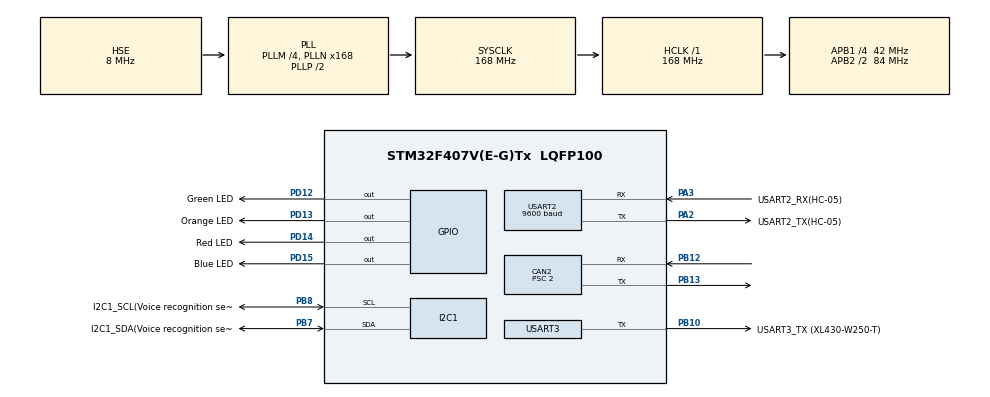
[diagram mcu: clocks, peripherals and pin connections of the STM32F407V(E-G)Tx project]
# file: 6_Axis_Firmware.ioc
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CAN2.BS1=CAN_BS1_15TQ
CAN2.BS2=CAN_BS2_5TQ
CAN2.CalculateBaudRate=1000000
CAN2.CalculateTimeBit=1000
CAN2.CalculateTimeQuantum=47.61904761904762
CAN2.Prescaler=2
FREERTOS.BinarySemaphores01=bSem_BLE,Dynamic,NULL;bSem_Voice,Dynamic,NULL
FREERTOS.Events01=cmdFlag,Dynamic,NULL;i2cFlag,Dynamic,NULL
FREERTOS.Queues01=ble_IT,5,bleData,0,Dynamic,NULL,NULL;voice_IT,5,uint8_t,0,Dynamic,NULL,NULL;pos_data,5,posData,0,Dynamic,NULL,NULL;voice_data,5,uint8_t,0,Dynamic,NULL,NULL;pos_single,5,posSingleData,0,Dynamic,NULL,NULL
FREERTOS.Tasks01=defaultTask,8,128,StartDefaultTask,Default,NULL,Dynamic,NULL,NULL;Task_VIT,25,128,VoiceInterrupt,Default,NULL,Dynamic,NULL,NULL;Task_Motor,26,256,Motor,Default,NULL,Dynamic,NULL,NULL;Task_Data,27,128,DataParse,Default,NULL,Dynamic,NULL,NULL;Task_GetCMD,24,128,GetVoiceCmd,Default,NULL,Dynamic,NULL,NULL;Task_BLE,28,128,BLEInterrupt,Default,NULL,Dynamic,NULL,NULL
FREERTOS.configUSE_NEWLIB_REENTRANT=1
FREERTOS.copyHeapFile=1
Mcu.Family=STM32F4
Mcu.Name=STM32F407V(E-G)Tx
Mcu.Package=LQFP100
NVIC.I2C1_EV_IRQn=true\:6\:0\:true\:false\:true\:true\:true\:true\:true
NVIC.PriorityGroup=NVIC_PRIORITYGROUP_4
NVIC.TIM6_DAC_IRQn=true\:15\:0\:false\:false\:true\:false\:false\:true\:true
NVIC.TimeBase=TIM6_DAC_IRQn
NVIC.TimeBaseIP=TIM6
NVIC.USART2_IRQn=true\:6\:0\:true\:false\:true\:true\:true\:true\:true
PA2.GPIO_Label=USART2_TX(HC-05)
PA2.Mode=Asynchronous
PA2.Signal=USART2_TX
PA3.GPIO_Label=USART2_RX(HC-05)
PA3.Mode=Asynchronous
PA3.Signal=USART2_RX
PB10.GPIO_Label=USART3_TX (XL430-W250-T)
PB10.Mode=Half_duplex(single_wire_mode)
PB10.Signal=USART3_TX
PB12.Mode=CAN_Activate
PB12.Signal=CAN2_RX
PB13.Mode=CAN_Activate
PB13.Signal=CAN2_TX
PB7.GPIO_Label=I2C1_SDA(Voice recognition sensor)
PB7.Mode=I2C
PB7.Signal=I2C1_SDA
PB8.GPIO_Label=I2C1_SCL(Voice recognition sensor)
PB8.Mode=I2C
PB8.Signal=I2C1_SCL
PD12.GPIO_Label=Green LED
PD12.Signal=GPIO_Output
PD13.GPIO_Label=Orange LED
PD13.Signal=GPIO_Output
PD14.GPIO_Label=Red LED
PD14.Signal=GPIO_Output
PD15.GPIO_Label=Blue LED
PD15.Signal=GPIO_Output
PH0-OSC_IN.Mode=HSE-External-Oscillator
PH0-OSC_IN.Signal=RCC_OSC_IN
PH1-OSC_OUT.Mode=HSE-External-Oscillator
PH1-OSC_OUT.Signal=RCC_OSC_OUT
ProjectManager.HeapSize=0x200
ProjectManager.StackSize=0x400
ProjectManager.TargetToolchain=STM32CubeIDE
RCC.48MHZClocksFreq_Value=84000000
RCC.AHBFreq_Value=168000000
RCC.APB1CLKDivider=RCC_HCLK_DIV4
RCC.APB1Freq_Value=42000000
RCC.APB1TimFreq_Value=84000000
RCC.APB2CLKDivider=RCC_HCLK_DIV2
RCC.APB2Freq_Value=84000000
RCC.APB2TimFreq_Value=168000000
RCC.CortexFreq_Value=168000000
RCC.HCLKFreq_Value=168000000
RCC.HSE_VALUE=8000000
RCC.HSI_VALUE=16000000
RCC.LSE_VALUE=32768
RCC.PLLM=4
RCC.PLLN=168
RCC.PLLSourceVirtual=RCC_PLLSOURCE_HSE
RCC.SYSCLKFreq_VALUE=168000000
RCC.SYSCLKSource=RCC_SYSCLKSOURCE_PLLCLK
RCC.VCOOutputFreq_Value=336000000
USART2.BaudRate=9600
USART2.VirtualMode=VM_ASYNC
USART3.BaudRate=115200
USART3.Mode=MODE_TX
USART3.VirtualMode=VM_ASYNC
VP_FREERTOS_VS_CMSIS_V2.Mode=CMSIS_V2
VP_SYS_VS_tim6.Mode=TIM6
board=custom

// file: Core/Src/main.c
/* USER CODE BEGIN Header */
/**
 ******************************************************************************
 * @file           : main.c
 * @brief          : Main program body
 ******************************************************************************
 * @attention
 *
 * Copyright (c) 2024 STMicroelectronics.
 * All rights reserved.
 *
 * This software is licensed under terms that can be found in the LICENSE file
 * in the root directory of this software component.
 * If no LICENSE file comes with this software, it is provided AS-IS.
 *
 ******************************************************************************
 */
/* USER CODE END Header */
#include "main.h"
#include "cmsis_os.h"

/* USER CODE BEGIN Includes */
#include <stdio.h>
#include <stdlib.h>
#include <string.h>

#include "at24cxx.h"
#include "df2301q.h"
#include "mg4005.h"
#include "xl430.h"
/* USER CODE END Includes */

/* USER CODE BEGIN PD */
#define ROBOT_INIT_FLAG 0x01
#define ROBOT_INITCOMP_FLAG 0x02
#define ROBOT_STOP_FLAG 0x04
#define ROBOT_STOPCOMP_FLAG 0x08

#define EEPROM_BUSY 0x01

#define MG4005_ID1_INIT 0
#define MG4005_ID2_INIT 0
#define MG4005_ID3_INIT 0
#define MG4005_ID1_OFFSET 180
#define MG4005_SPEED 300

#define XL430_ID4_INIT 17
#define XL430_ID5_INIT 180
#define XL430_ID6_INIT 180
#define XL430_SPEED 218
/* USER CODE END PD */

CAN_HandleTypeDef hcan2;

I2C_HandleTypeDef hi2c1;

UART_HandleTypeDef huart2;
UART_HandleTypeDef huart3;

/* Definitions for defaultTask */
osThreadId_t defaultTaskHandle;
const osThreadAttr_t defaultTask_attributes = {
  .name = "defaultTask",
  .stack_size = 128 * 4,
  .priority = (osPriority_t) osPriorityLow,
};
/* Definitions for Task_VIT */
osThreadId_t Task_VITHandle;
const osThreadAttr_t Task_VIT_attributes = {
  .name = "Task_VIT",
  .stack_size = 128 * 4,
  .priority = (osPriority_t) osPriorityNormal1,
};
/* Definitions for Task_Motor */
osThreadId_t Task_MotorHandle;
const osThreadAttr_t Task_Motor_attributes = {
  .name = "Task_Motor",
  .stack_size = 256 * 4,
  .priority = (osPriority_t) osPriorityNormal2,
};
/* Definitions for Task_Data */
osThreadId_t Task_DataHandle;
const osThreadAttr_t Task_Data_attributes = {
  .name = "Task_Data",
  .stack_size = 128 * 4,
  .priority = (osPriority_t) osPriorityNormal3,
};
/* Definitions for Task_GetCMD */
osThreadId_t Task_GetCMDHandle;
const osThreadAttr_t Task_GetCMD_attributes = {
  .name = "Task_GetCMD",
  .stack_size = 128 * 4,
  .priority = (osPriority_t) osPriorityNormal,
};
/* Definitions for Task_BLE */
osThreadId_t Task_BLEHandle;
const osThreadAttr_t Task_BLE_attributes = {
  .name = "Task_BLE",
  .stack_size = 128 * 4,
  .priority = (osPriority_t) osPriorityNormal4,
};
/* Definitions for ble_IT */
osMessageQueueId_t ble_ITHandle;
const osMessageQueueAttr_t ble_IT_attributes = {
  .name = "ble_IT"
};
/* Definitions for voice_IT */
osMessageQueueId_t voice_ITHandle;
const osMessageQueueAttr_t voice_IT_attributes = {
  .name = "voice_IT"
};
/* Definitions for pos_data */
osMessageQueueId_t pos_dataHandle;
const osMessageQueueAttr_t pos_data_attributes = {
  .name = "pos_data"
};
/* Definitions for voice_data */
osMessageQueueId_t voice_dataHandle;
const osMessageQueueAttr_t voice_data_attributes = {
  .name = "voice_data"
};
/* Definitions for pos_single */
osMessageQueueId_t pos_singleHandle;
const osMessageQueueAttr_t pos_single_attributes = {
  .name = "pos_single"
};
/* Definitions for bSem_BLE */
osSemaphoreId_t bSem_BLEHandle;
const osSemaphoreAttr_t bSem_BLE_attributes = {
  .name = "bSem_BLE"
};
/* Definitions for bSem_Voice */
osSemaphoreId_t bSem_VoiceHandle;
const osSemaphoreAttr_t bSem_Voice_attributes = {
  .name = "bSem_Voice"
};
/* Definitions for cmdFlag */
osEventFlagsId_t cmdFlagHandle;
const osEventFlagsAttr_t cmdFlag_attributes = {
  .name = "cmdFlag"
};
/* Definitions for i2cFlag */
osEventFlagsId_t i2cFlagHandle;
const osEventFlagsAttr_t i2cFlag_attributes = {
  .name = "i2cFlag"
};
/* USER CODE BEGIN PV */
// BLE module code
typedef struct {
	uint8_t cmd[4];
	uint8_t idx;
	uint8_t pos1[4];
	uint8_t pos2[4];
	uint8_t pos3[4];
	uint8_t pos4[4];
	uint8_t pos5[4];
	uint8_t pos6[4];
} bleData;

typedef struct {
	uint8_t idx;
	int32_t pos1;
	int32_t pos2;
	int32_t pos3;
	int32_t pos4;
	int32_t pos5;
	int32_t pos6;
} posData;

typedef struct {
	uint8_t id;
	int16_t pos;
} posSingleData;

bleData *pBle_it;
posData *pPos_data;
uint8_t uart2_rx = 0;

// Voice sensor code
uint8_t *pVoice_it;
uint8_t *pVoice_data;
uint8_t i2c1_rx = 0;

// MG4005 code
CAN_FilterTypeDef canFilter;
CAN_RxHeaderTypeDef canRxHeader;
CAN_TxHeaderTypeDef canTxHeader;
uint8_t canRx0Data[8];
uint32_t canTxMailbox;
uint8_t canTxData[8];

// XL430 code
uint8_t tx_packet[64];

/* USER CODE END PV */

void SystemClock_Config(void);
static void MX_GPIO_Init(void);
static void MX_CAN2_Init(void);
static void MX_USART2_UART_Init(void);
static void MX_I2C1_Init(void);
static void MX_USART3_UART_Init(void);
void StartDefaultTask(void *argument);
void VoiceInterrupt(void *argument);
void Motor(void *argument);
void DataParse(void *argument);
void GetVoiceCmd(void *argument);
void BLEInterrupt(void *argument);

/* USER CODE BEGIN PFP */
void PosSetDataParsing(bleData *p, posData *data);
void posSingleDataParsing(bleData *p, posSingleData *data, uint8_t id);
void PosSaveDataParsing(bleData *p, uint8_t *save_arr);
void PosSaveDataDecode(uint8_t *save_arr, posData *data);
/* USER CODE END PFP */

/* USER CODE BEGIN 0 */
//int _write(int file, char *p, int len) {
//	for (int i = 0; i < len; i++) {
//		ITM_SendChar((*p++));
//	}
//	return len;
//}
/* USER CODE END 0 */

int main(void)
{

  /* MCU Configuration--------------------------------------------------------*/

  /* Reset of all peripherals, Initializes the Flash interface and the Systick. */
  HAL_Init();

  /* Configure the system clock */
  SystemClock_Config();

  /* Initialize all configured peripherals */
  MX_GPIO_Init();
  MX_CAN2_Init();
  MX_USART2_UART_Init();
  MX_I2C1_Init();
  MX_USART3_UART_Init();
  /* USER CODE BEGIN 2 */
	// Boot delay
	HAL_Delay(2000);

	HAL_UART_Receive_IT(&huart2, &uart2_rx, 1);
	InitCANFilter();
  /* USER CODE END 2 */

  /* Init scheduler */
  osKernelInitialize();

  /* Create the semaphores(s) */
  /* creation of bSem_BLE */
  bSem_BLEHandle = osSemaphoreNew(1, 1, &bSem_BLE_attributes);

  /* creation of bSem_Voice */
  bSem_VoiceHandle = osSemaphoreNew(1, 1, &bSem_Voice_attributes);

  /* Create the queue(s) */
  /* creation of ble_IT */
  ble_ITHandle = osMessageQueueNew (5, sizeof(bleData), &ble_IT_attributes);

  /* creation of voice_IT */
  voice_ITHandle = osMessageQueueNew (5, sizeof(uint8_t), &voice_IT_attributes);

  /* creation of pos_data */
  pos_dataHandle = osMessageQueueNew (5, sizeof(posData), &pos_data_attributes);

  /* creation of voice_data */
  voice_dataHandle = osMessageQueueNew (5, sizeof(uint8_t), &voice_data_attributes);

  /* creation of pos_single */
  pos_singleHandle = osMessageQueueNew (5, sizeof(posSingleData), &pos_single_attributes);

  /* Create the thread(s) */
  /* creation of defaultTask */
  defaultTaskHandle = osThreadNew(StartDefaultTask, NULL, &defaultTask_attributes);

  /* creation of Task_VIT */
  Task_VITHandle = osThreadNew(VoiceInterrupt, NULL, &Task_VIT_attributes);

  /* creation of Task_Motor */
  Task_MotorHandle = osThreadNew(Motor, NULL, &Task_Motor_attributes);

  /* creation of Task_Data */
  Task_DataHandle = osThreadNew(DataParse, NULL, &Task_Data_attributes);

  /* creation of Task_GetCMD */
  Task_GetCMDHandle = osThreadNew(GetVoiceCmd, NULL, &Task_GetCMD_attributes);

  /* creation of Task_BLE */
  Task_BLEHandle = osThreadNew(BLEInterrupt, NULL, &Task_BLE_attributes);

  /* Create the event(s) */
  /* creation of cmdFlag */
  cmdFlagHandle = osEventFlagsNew(&cmdFlag_attributes);

  /* creation of i2cFlag */
  i2cFlagHandle = osEventFlagsNew(&i2cFlag_attributes);

  /* USER CODE BEGIN RTOS_EVENTS */
	/* add events, ... */
	osEventFlagsSet(cmdFlagHandle, ROBOT_INIT_FLAG);
  /* USER CODE END RTOS_EVENTS */

  /* Start scheduler */
  osKernelStart();

  /* We should never get here as control is now taken by the scheduler */
  /* Infinite loop */
	while (1) {

	}
}

void SystemClock_Config(void)
{
  RCC_OscInitTypeDef RCC_OscInitStruct = {0};
  RCC_ClkInitTypeDef RCC_ClkInitStruct = {0};

  /** Configure the main internal regulator output voltage
  */
  __HAL_RCC_PWR_CLK_ENABLE();
  __HAL_PWR_VOLTAGESCALING_CONFIG(PWR_REGULATOR_VOLTAGE_SCALE1);

  /** Initializes the RCC Oscillators according to the specified parameters
  * in the RCC_OscInitTypeDef structure.
  */
  RCC_OscInitStruct.OscillatorType = RCC_OSCILLATORTYPE_HSE;
  RCC_OscInitStruct.HSEState = RCC_HSE_ON;
  RCC_OscInitStruct.PLL.PLLState = RCC_PLL_ON;
  RCC_OscInitStruct.PLL.PLLSource = RCC_PLLSOURCE_HSE;
  RCC_OscInitStruct.PLL.PLLM = 4;
  RCC_OscInitStruct.PLL.PLLN = 168;
  RCC_OscInitStruct.PLL.PLLP = RCC_PLLP_DIV2;
  RCC_OscInitStruct.PLL.PLLQ = 4;
  if (HAL_RCC_OscConfig(&RCC_OscInitStruct) != HAL_OK)
  {
    Error_Handler();
  }

  /** Initializes the CPU, AHB and APB buses clocks
  */
  RCC_ClkInitStruct.ClockType = RCC_CLOCKTYPE_HCLK|RCC_CLOCKTYPE_SYSCLK
                              |RCC_CLOCKTYPE_PCLK1|RCC_CLOCKTYPE_PCLK2;
  RCC_ClkInitStruct.SYSCLKSource = RCC_SYSCLKSOURCE_PLLCLK;
  RCC_ClkInitStruct.AHBCLKDivider = RCC_SYSCLK_DIV1;
  RCC_ClkInitStruct.APB1CLKDivider = RCC_HCLK_DIV4;
  RCC_ClkInitStruct.APB2CLKDivider = RCC_HCLK_DIV2;

  if (HAL_RCC_ClockConfig(&RCC_ClkInitStruct, FLASH_LATENCY_5) != HAL_OK)
  {
    Error_Handler();
  }
}

static void MX_CAN2_Init(void)
{

  hcan2.Instance = CAN2;
  hcan2.Init.Prescaler = 2;
  hcan2.Init.Mode = CAN_MODE_NORMAL;
  hcan2.Init.SyncJumpWidth = CAN_SJW_1TQ;
  hcan2.Init.TimeSeg1 = CAN_BS1_15TQ;
  hcan2.Init.TimeSeg2 = CAN_BS2_5TQ;
  hcan2.Init.TimeTriggeredMode = DISABLE;
  hcan2.Init.AutoBusOff = DISABLE;
  hcan2.Init.AutoWakeUp = DISABLE;
  hcan2.Init.AutoRetransmission = DISABLE;
  hcan2.Init.ReceiveFifoLocked = DISABLE;
  hcan2.Init.TransmitFifoPriority = DISABLE;
  if (HAL_CAN_Init(&hcan2) != HAL_OK)
  {
    Error_Handler();
  }

}

static void MX_I2C1_Init(void)
{

  hi2c1.Instance = I2C1;
  hi2c1.Init.ClockSpeed = 100000;
  hi2c1.Init.DutyCycle = I2C_DUTYCYCLE_2;
  hi2c1.Init.OwnAddress1 = 0;
  hi2c1.Init.AddressingMode = I2C_ADDRESSINGMODE_7BIT;
  hi2c1.Init.DualAddressMode = I2C_DUALADDRESS_DISABLE;
  hi2c1.Init.OwnAddress2 = 0;
  hi2c1.Init.GeneralCallMode = I2C_GENERALCALL_DISABLE;
  hi2c1.Init.NoStretchMode = I2C_NOSTRETCH_DISABLE;
  if (HAL_I2C_Init(&hi2c1) != HAL_OK)
  {
    Error_Handler();
  }

}

static void MX_USART2_UART_Init(void)
{

  huart2.Instance = USART2;
  huart2.Init.BaudRate = 9600;
  huart2.Init.WordLength = UART_WORDLENGTH_8B;
  huart2.Init.StopBits = UART_STOPBITS_1;
  huart2.Init.Parity = UART_PARITY_NONE;
  huart2.Init.Mode = UART_MODE_TX_RX;
  huart2.Init.HwFlowCtl = UART_HWCONTROL_NONE;
  huart2.Init.OverSampling = UART_OVERSAMPLING_16;
  if (HAL_UART_Init(&huart2) != HAL_OK)
  {
    Error_Handler();
  }

}

static void MX_USART3_UART_Init(void)
{

  huart3.Instance = USART3;
  huart3.Init.BaudRate = 115200;
  huart3.Init.WordLength = UART_WORDLENGTH_8B;
  huart3.Init.StopBits = UART_STOPBITS_1;
  huart3.Init.Parity = UART_PARITY_NONE;
  huart3.Init.Mode = UART_MODE_TX;
  huart3.Init.HwFlowCtl = UART_HWCONTROL_NONE;
  huart3.Init.OverSampling = UART_OVERSAMPLING_16;
  if (HAL_HalfDuplex_Init(&huart3) != HAL_OK)
  {
    Error_Handler();
  }

}

static void MX_GPIO_Init(void)
{
  GPIO_InitTypeDef GPIO_InitStruct = {0};

  /* GPIO Ports Clock Enable */
  __HAL_RCC_GPIOH_CLK_ENABLE();
  __HAL_RCC_GPIOA_CLK_ENABLE();
  __HAL_RCC_GPIOB_CLK_ENABLE();
  __HAL_RCC_GPIOD_CLK_ENABLE();

  /*Configure GPIO pin Output Level */
  HAL_GPIO_WritePin(GPIOD, Green_LED_Pin|Orange_LED_Pin|Red_LED_Pin|Blue_LED_Pin, GPIO_PIN_RESET);

  /*Configure GPIO pins : Green_LED_Pin Orange_LED_Pin Red_LED_Pin Blue_LED_Pin */
  GPIO_InitStruct.Pin = Green_LED_Pin|Orange_LED_Pin|Red_LED_Pin|Blue_LED_Pin;
  GPIO_InitStruct.Mode = GPIO_MODE_OUTPUT_PP;
  GPIO_InitStruct.Pull = GPIO_NOPULL;
  GPIO_InitStruct.Speed = GPIO_SPEED_FREQ_LOW;
  HAL_GPIO_Init(GPIOD, &GPIO_InitStruct);

}

/* USER CODE BEGIN 4 */
// Bluetooth data Receive
void HAL_UART_RxCpltCallback(UART_HandleTypeDef *huart) {
	if (huart->Instance == USART2) {
		osSemaphoreRelease(bSem_BLEHandle);
	}
}

void HAL_I2C_MemRxCpltCallback(I2C_HandleTypeDef *hi2c) {
	if (hi2c->Instance == I2C1) {
		osSemaphoreRelease(bSem_VoiceHandle);
	}
}

void PosSetDataParsing(bleData *p, posData *data) {
	data->pos1 = (int32_t) (strtoul(p->pos1, NULL, 10) - MG4005_ID1_OFFSET);
	data->pos2 = (int32_t) strtoul(p->pos2, NULL, 10);
	data->pos3 = (int32_t) strtoul(p->pos3, NULL, 10);
	data->pos4 = (int32_t) strtoul(p->pos4, NULL, 10);
	data->pos5 = (int32_t) strtoul(p->pos5, NULL, 10);
	data->pos6 = (int32_t) strtoul(p->pos6, NULL, 10);
}

void posSingleDataParsing(bleData *p, posSingleData *data, uint8_t id) {
	data->id = id;
	data->pos = (int16_t) strtoul(p->pos1, NULL, 10);
}

void PosSaveDataParsing(bleData *p, uint8_t *save_arr) {

	int16_t pos1 = (int16_t) strtoul(p->pos1, NULL, 10);
	int16_t pos2 = (int16_t) strtoul(p->pos2, NULL, 10);
	int16_t pos3 = (int16_t) strtoul(p->pos3, NULL, 10);
	int16_t pos4 = (int16_t) strtoul(p->pos4, NULL, 10);
	int16_t pos5 = (int16_t) strtoul(p->pos5, NULL, 10);
	int16_t pos6 = (int16_t) strtoul(p->pos6, NULL, 10);

	save_arr[0] = *((uint8_t*) (&pos1));
	save_arr[1] = *((uint8_t*) (&pos1) + 1);
	save_arr[2] = *((uint8_t*) (&pos2));
	save_arr[3] = *((uint8_t*) (&pos2) + 1);
	save_arr[4] = *((uint8_t*) (&pos3));
	save_arr[5] = *((uint8_t*) (&pos3) + 1);
	save_arr[6] = *((uint8_t*) (&pos4));
	save_arr[7] = *((uint8_t*) (&pos4) + 1);
	save_arr[8] = *((uint8_t*) (&pos5));
	save_arr[9] = *((uint8_t*) (&pos5) + 1);
	save_arr[10] = *((uint8_t*) (&pos6));
	save_arr[11] = *((uint8_t*) (&pos6) + 1);

	printf("idx: %d\r\n", p->idx - 48);
	printf("pos2: %d\r\n", pos2);
	printf("SaveArr2: 0x%x, 0x%x\r\n", save_arr[2], save_arr[3]);
}

void PosSaveDataDecode(uint8_t *save_arr, posData *data) {
	data->pos1 = ((int32_t) (((uint16_t) save_arr[1] << 8)
			| (uint16_t) save_arr[0])) - MG4005_ID1_OFFSET;
	data->pos2 = (int32_t) (((uint16_t) save_arr[3] << 8)
			| (uint16_t) save_arr[2]);
	data->pos3 = (int32_t) (((uint16_t) save_arr[5] << 8)
			| (uint16_t) save_arr[4]);
	data->pos4 = (int32_t) (((uint16_t) save_arr[7] << 8)
			| (uint16_t) save_arr[6]);
	data->pos5 = (int32_t) (((uint16_t) save_arr[9] << 8)
			| (uint16_t) save_arr[8]);
	data->pos6 = (int32_t) (((uint16_t) save_arr[11] << 8)
			| (uint16_t) save_arr[10]);

	printf("Decode SaveArr2: 0x%x, 0x%x\r\n", save_arr[2], save_arr[3]);
	printf("Decode pos2: %d", data->pos2);
}
/* USER CODE END 4 */

void StartDefaultTask(void *argument)
{
	for (;;) {
		osDelay(1);
	}
}

void VoiceInterrupt(void *argument)
{
  /* USER CODE BEGIN VoiceInterrupt */
	uint8_t voice_cmd = 0;
	/* Infinite loop */
	for (;;) {
		if (bSem_VoiceHandle != NULL) {
			if (osSemaphoreAcquire(bSem_VoiceHandle, osWaitForever) == osOK) {
				HAL_GPIO_WritePin(GPIOD, GPIO_PIN_12, SET);

				if (i2c1_rx != 0) {
					voice_cmd = i2c1_rx;
					osMessageQueuePut(voice_ITHandle, &voice_cmd, 1U, 0U);

					HAL_GPIO_WritePin(GPIOD, GPIO_PIN_12, RESET);
				}
			}
		}
//		osDelay(1);
	}
  /* USER CODE END VoiceInterrupt */
}

void Motor(void *argument)
{
  /* USER CODE BEGIN Motor */
	osStatus_t pos_data_event;
	osStatus_t pos_single_event;
	osStatus_t voice_data_event;

	posData pos_data;
	posSingleData single_data;
	uint8_t voice_data;
	uint32_t event_flags;

	posData decode_data;
	uint8_t addr = 0x00;
	uint8_t eeprom_data[12] = { 0x00 };

	/* Infinite loop */
	for (;;) {
		pos_data_event = osMessageQueueGet(pos_dataHandle, &pos_data, 2U, 10);
		pos_single_event = osMessageQueueGet(pos_singleHandle, &single_data, 2U,
				10);
		voice_data_event = osMessageQueueGet(voice_dataHandle, &voice_data, 3U,
				10);

		event_flags = osEventFlagsGet(cmdFlagHandle);

		if ((event_flags & ROBOT_INIT_FLAG)
				&& !(event_flags & ROBOT_INITCOMP_FLAG)) {
			// Robot initialize for motor zero position
			printf("Robot initialize\r\n");

			// Motor ON
//			MG4005On(0x01);
//			MG4005On(0x02);
//			MG4005On(0x03);

			xl430TorqueEnable(0x04, TORQUE_MODE_ON);
			xl430TorqueEnable(0x05, TORQUE_MODE_ON);
			xl430TorqueEnable(0x06, TORQUE_MODE_ON);

			xl430ProfVelo(0x04, XL430_SPEED);
			xl430ProfVelo(0x05, XL430_SPEED);
			xl430ProfVelo(0x06, XL430_SPEED);

			// Motor zero position init
			MG4005MultiLoop2(0x01, MG4005_SPEED, MG4005_ID1_INIT);
			MG4005MultiLoop2(0x02, MG4005_SPEED, MG4005_ID2_INIT);
			MG4005MultiLoop2(0x03, MG4005_SPEED, MG4005_ID3_INIT);

			xl430GoalPos(0x04, XL430_ID4_INIT);
			xl430GoalPos(0x05, XL430_ID5_INIT);
			xl430GoalPos(0x06, XL430_ID6_INIT);

			osEventFlagsSet(cmdFlagHandle, ROBOT_INITCOMP_FLAG);
			osEventFlagsClear(cmdFlagHandle, ROBOT_INIT_FLAG);
		}

		if ((event_flags & ROBOT_STOP_FLAG)
				&& !(event_flags & ROBOT_STOPCOMP_FLAG)) {
			// Robot motor stop
			printf("Robot stop\r\n");

			osEventFlagsSet(cmdFlagHandle, ROBOT_STOPCOMP_FLAG);
			osEventFlagsClear(cmdFlagHandle, ROBOT_STOP_FLAG);
		}

		if (pos_data_event == osOK) {
			// Robot motor commend
			printf("Robot set motor: %d. %d. %d. %d. %d. %d\r\n", pos_data.pos1,
					pos_data.pos2, pos_data.pos3, pos_data.pos4, pos_data.pos5,
					pos_data.pos6);

			// Motor angle set
			MG4005MultiLoop2(0x01, MG4005_SPEED, (int) pos_data.pos1);
			MG4005MultiLoop2(0x02, MG4005_SPEED, (int) pos_data.pos2);
			MG4005MultiLoop2(0x03, MG4005_SPEED, (int) pos_data.pos3);

			xl430GoalPos(0x04, (uint32_t) pos_data.pos4);
			xl430GoalPos(0x05, (uint32_t) pos_data.pos5);
			xl430GoalPos(0x06, (uint32_t) pos_data.pos6);
		}

		if (pos_single_event == osOK) {
			// Robot realtime motor commend
			printf("Robot S: 0x%02x, %d\r\n", single_data.id, single_data.pos);

			switch (single_data.id) {
			case 0x01:
				MG4005MultiLoop2(0x01, MG4005_SPEED,
						(int16_t) (single_data.pos - MG4005_ID1_OFFSET));
				break;
			case 0x02:
				MG4005MultiLoop2(0x02, MG4005_SPEED, (int) single_data.pos);
				break;
			case 0x03:
				MG4005MultiLoop2(0x03, MG4005_SPEED, (int) single_data.pos);
				break;
			case 0x04:
				xl430GoalPos(0x04, (uint32_t) single_data.pos);
				break;
			case 0x05:
				xl430GoalPos(0x05, (uint32_t) single_data.pos);
				break;
			case 0x06:
				xl430GoalPos(0x06, (uint32_t) single_data.pos);
				break;
			}
		}

		if (voice_data_event == osOK) {
			// Voice commend
			printf("Voice input: %02x\r\n", voice_data);

			switch (voice_data) {
			case 0x05:
			case 0x06:
			case 0x07:
			case 0x08:
			case 0x09:
				// Read save data (EEPROM)
				addr = (voice_data - 0x05) * 12;

				AT24Read(addr, eeprom_data, 12);
				PosSaveDataDecode(eeprom_data, &decode_data);

				// Motor angle set
				MG4005MultiLoop2(0x01, MG4005_SPEED,
						(int32_t) decode_data.pos1);
				MG4005MultiLoop2(0x02, MG4005_SPEED,
						(int32_t) decode_data.pos2);
				MG4005MultiLoop2(0x03, MG4005_SPEED,
						(int32_t) decode_data.pos3);

				xl430GoalPos(0x04, (uint32_t) decode_data.pos4);
				xl430GoalPos(0x05, (uint32_t) decode_data.pos5);
				xl430GoalPos(0x06, (uint32_t) decode_data.pos6);
				break;
			case 0x0A:
				// Guidance voice ON
				DF2301QSetMuteMode(DF2301Q_MUTE_OFF);
				break;
			case 0x0B:
				// Guidance voice OFF
				DF2301QSetMuteMode(DF2301Q_MUTE_ON);
				break;
			case 0x17:
				// Test code
				addr = 0x00;

				AT24Read(addr, eeprom_data, 12);
				PosSaveDataDecode(eeprom_data, &decode_data);

				printf("Robot set motor: %d. %d. %d. %d. %d. %d\r\n",
						decode_data.pos1, decode_data.pos2, decode_data.pos3,
						decode_data.pos4, decode_data.pos5, decode_data.pos6);

				// Motor angle set
				MG4005MultiLoop2(0x01, MG4005_SPEED,
						(int32_t) decode_data.pos1);
				MG4005MultiLoop2(0x02, MG4005_SPEED,
						(int32_t) decode_data.pos2);
				MG4005MultiLoop2(0x03, MG4005_SPEED,
						(int32_t) decode_data.pos3);

				xl430GoalPos(0x04, (uint32_t) decode_data.pos4);
				xl430GoalPos(0x05, (uint32_t) decode_data.pos5);
				xl430GoalPos(0x06, (uint32_t) decode_data.pos6);
				break;
			case 0x52:
				// Reset
				osEventFlagsSet(cmdFlagHandle, ROBOT_INIT_FLAG);

				osEventFlagsClear(cmdFlagHandle, ROBOT_INITCOMP_FLAG);
				osEventFlagsClear(cmdFlagHandle, ROBOT_STOPCOMP_FLAG);
				break;
			}
		}

		osDelay(1);
	}
  /* USER CODE END Motor */
}

void DataParse(void *argument)
{
  /* USER CODE BEGIN DataParse */
	osStatus_t ble_it_event;
	osStatus_t voice_it_event;

	bleData ble_it;
	posData parse_data;
	posSingleData single_parse_data;
	uint8_t voice_it;

	/* Infinite loop */
	for (;;) {
		ble_it_event = osMessageQueueGet(ble_ITHandle, &ble_it, 0U, 10);
		voice_it_event = osMessageQueueGet(voice_ITHandle, &voice_it, 1U, 10);

		if (ble_it_event == osOK) {
			HAL_GPIO_WritePin(GPIOD, GPIO_PIN_13, SET);

			printf("%s\r\n", ble_it.cmd);
			if (ble_it.cmd[0] == 'P') {
				switch (ble_it.cmd[1]) {
				case '1':
					osEventFlagsClear(cmdFlagHandle, ROBOT_INITCOMP_FLAG);
					osEventFlagsClear(cmdFlagHandle, ROBOT_STOPCOMP_FLAG);

					posSingleDataParsing(&ble_it, &single_parse_data, 0x01);
					osMessageQueuePut(pos_singleHandle, &single_parse_data, 2U,
							0U);
					break;
				case '2':
					osEventFlagsClear(cmdFlagHandle, ROBOT_INITCOMP_FLAG);
					osEventFlagsClear(cmdFlagHandle, ROBOT_STOPCOMP_FLAG);

					posSingleDataParsing(&ble_it, &single_parse_data, 0x02);
					osMessageQueuePut(pos_singleHandle, &single_parse_data, 2U,
							0U);
					break;
				case '3':
					osEventFlagsClear(cmdFlagHandle, ROBOT_INITCOMP_FLAG);
					osEventFlagsClear(cmdFlagHandle, ROBOT_STOPCOMP_FLAG);

					posSingleDataParsing(&ble_it, &single_parse_data, 0x03);
					osMessageQueuePut(pos_singleHandle, &single_parse_data, 2U,
							0U);
					break;
				case '4':
					osEventFlagsClear(cmdFlagHandle, ROBOT_INITCOMP_FLAG);
					osEventFlagsClear(cmdFlagHandle, ROBOT_STOPCOMP_FLAG);

					posSingleDataParsing(&ble_it, &single_parse_data, 0x04);
					osMessageQueuePut(pos_singleHandle, &single_parse_data, 2U,
							0U);
					break;
				case '5':
					osEventFlagsClear(cmdFlagHandle, ROBOT_INITCOMP_FLAG);
					osEventFlagsClear(cmdFlagHandle, ROBOT_STOPCOMP_FLAG);

					posSingleDataParsing(&ble_it, &single_parse_data, 0x05);
					osMessageQueuePut(pos_singleHandle, &single_parse_data, 2U,
							0U);
					break;
				case '6':
					osEventFlagsClear(cmdFlagHandle, ROBOT_INITCOMP_FLAG);
					osEventFlagsClear(cmdFlagHandle, ROBOT_STOPCOMP_FLAG);

					posSingleDataParsing(&ble_it, &single_parse_data, 0x06);
					osMessageQueuePut(pos_singleHandle, &single_parse_data, 2U,
							0U);
					break;
				}
			} else if (!(strcmp(ble_it.cmd, "STOP"))) {
				// stop flag on
				osEventFlagsSet(cmdFlagHandle, ROBOT_STOP_FLAG);
				osEventFlagsClear(cmdFlagHandle, ROBOT_INITCOMP_FLAG);
				osEventFlagsClear(cmdFlagHandle, ROBOT_STOPCOMP_FLAG);

			} else if (!(strcmp(ble_it.cmd, "SET"))) {
				// stop flag off & put pos data
				osEventFlagsClear(cmdFlagHandle, ROBOT_INITCOMP_FLAG);
				osEventFlagsClear(cmdFlagHandle, ROBOT_STOPCOMP_FLAG);

				PosSetDataParsing(&ble_it, &parse_data);
				osMessageQueuePut(pos_dataHandle, &parse_data, 2U, 0U);

			} else if (!(strcmp(ble_it.cmd, "SAV"))) {
				// eeprom write
				uint8_t parse_idx = ble_it.idx - 48;
				uint8_t addr = parse_idx * 12;
				uint8_t data[12] = {0x00};

				PosSaveDataParsing(&ble_it, data);
				AT24Write(addr, data, 12);

			} else if (!(strcmp(ble_it.cmd, "DEL"))) {
				// eeprom delete
				uint8_t parse_idx = ble_it.idx - 48;
				uint8_t addr;
				uint8_t next_addr;
				uint8_t data[12] = {0x00};

				for (int i = parse_idx; i < 4; i++) {
					addr = i * 12;
					next_addr = addr + 12;

					AT24Read(next_addr, data, 12);

					AT24Write(addr, data, 12);
				}

				memset(data, 0x00, 12);
				addr = 0x30; // 5th address
				AT24Write(addr, data, 12);

			} else if (!(strcmp(ble_it.cmd, "RSET"))) {
				// connect or reset flag on
				osEventFlagsSet(cmdFlagHandle, ROBOT_INIT_FLAG);

				osEventFlagsClear(cmdFlagHandle, ROBOT_INITCOMP_FLAG);
				osEventFlagsClear(cmdFlagHandle, ROBOT_STOPCOMP_FLAG);

			}

			HAL_GPIO_WritePin(GPIOD, GPIO_PIN_13, RESET);
		}

		if (voice_it_event == osOK) {
			HAL_GPIO_WritePin(GPIOD, GPIO_PIN_14, SET);

			osEventFlagsClear(cmdFlagHandle, ROBOT_INIT_FLAG);
			osEventFlagsClear(cmdFlagHandle, ROBOT_INITCOMP_FLAG);
			osEventFlagsClear(cmdFlagHandle, ROBOT_STOP_FLAG);
			osEventFlagsClear(cmdFlagHandle, ROBOT_STOPCOMP_FLAG);

			osMessageQueuePut(voice_dataHandle, &voice_it, 3U, 0U);
			HAL_GPIO_WritePin(GPIOD, GPIO_PIN_14, RESET);
		}
		osDelay(1);
	}
  /* USER CODE END DataParse */
}

void GetVoiceCmd(void *argument)
{
  /* USER CODE BEGIN GetVoiceCmd */

	/* Infinite loop */
	for (;;) {
		DF2301QGetCMDID();

		osDelay(100);
	}
  /* USER CODE END GetVoiceCmd */
}

void BLEInterrupt(void *argument)
{
  /* USER CODE BEGIN BLEInterrupt */
	bleData ble_data;

	memset(ble_data.cmd, 0x00, 4);
	ble_data.idx = 0x00;
	memset(ble_data.pos1, 0x00, 3);
	memset(ble_data.pos2, 0x00, 3);
	memset(ble_data.pos3, 0x00, 3);
	memset(ble_data.pos4, 0x00, 3);
	memset(ble_data.pos5, 0x00, 3);
	memset(ble_data.pos6, 0x00, 3);

	uint8_t i = 0;
	uint8_t uart2_count = 0;

	/* Infinite loop */
	for (;;) {
		if (bSem_BLEHandle != NULL) {
			if (osSemaphoreAcquire(bSem_BLEHandle, osWaitForever) == osOK) {
				HAL_GPIO_WritePin(GPIOD, GPIO_PIN_15, SET);

				switch (uart2_rx) {
				case '.':
					i = 0;
					++uart2_count;
					break;
				case '\r':
					osMessageQueuePut(ble_ITHandle, &ble_data, 0U, 0U);
					break;
				case '\n':
					memset(ble_data.cmd, 0x00, 4);
					ble_data.idx = 0x00;
					memset(ble_data.pos1, 0x00, 3);
					memset(ble_data.pos2, 0x00, 3);
					memset(ble_data.pos3, 0x00, 3);
					memset(ble_data.pos4, 0x00, 3);
					memset(ble_data.pos5, 0x00, 3);
					memset(ble_data.pos6, 0x00, 3);

					i = 0;
					uart2_count = 0;

					HAL_GPIO_WritePin(GPIOD, GPIO_PIN_15, RESET);
					break;
				default:
					switch (uart2_count) {
					case 0:
						ble_data.cmd[i++] = uart2_rx;
						break;
					case 1:
						ble_data.idx = uart2_rx;
						break;
					case 2:
						ble_data.pos1[i++] = uart2_rx;
						break;
					case 3:
						ble_data.pos2[i++] = uart2_rx;
						break;
					case 4:
						ble_data.pos3[i++] = uart2_rx;
						break;
					case 5:
						ble_data.pos4[i++] = uart2_rx;
						break;
					case 6:
						ble_data.pos5[i++] = uart2_rx;
						break;
					case 7:
						ble_data.pos6[i++] = uart2_rx;
						break;
					}
					break;
				}

				HAL_UART_Receive_IT(&huart2, &uart2_rx, 1);
//    osDelay(1);
			}
		}
	}
  /* USER CODE END BLEInterrupt */
}

void HAL_TIM_PeriodElapsedCallback(TIM_HandleTypeDef *htim)
{
  if (htim->Instance == TIM6) {
    HAL_IncTick();
  }
}

void Error_Handler(void)
{
	__disable_irq();
	while (1) {
	}
}
